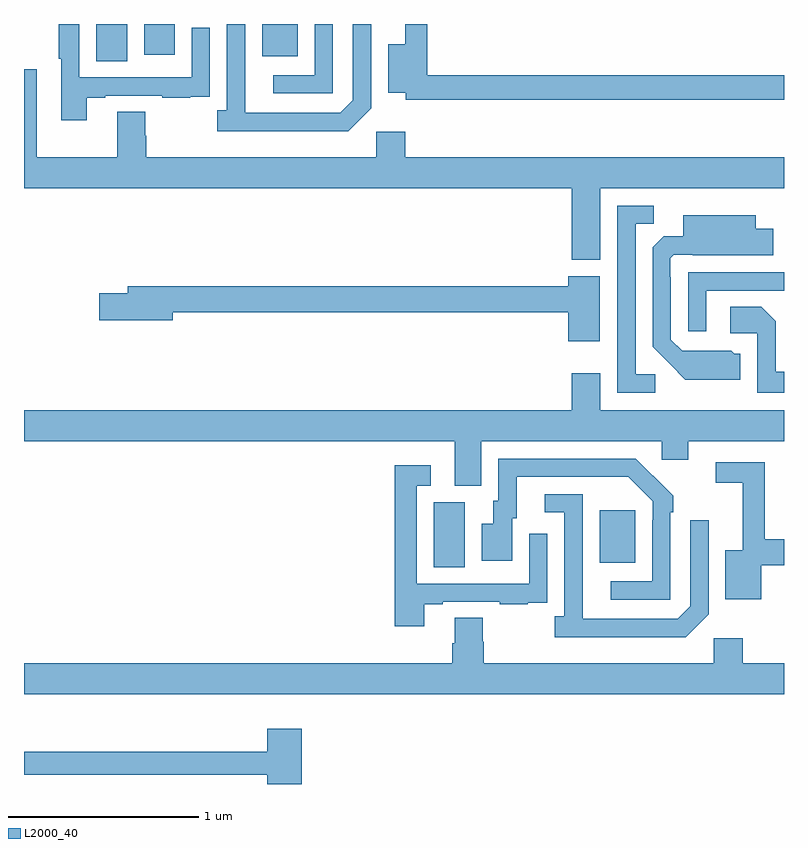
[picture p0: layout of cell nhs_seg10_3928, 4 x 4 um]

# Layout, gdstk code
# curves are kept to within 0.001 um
import gdstk
lib = gdstk.Library(unit=1e-6, precision=1e-09)
def R(c, l, rs):  # rectangles x0, y0, x1, y1
    for r in rs: c.add(gdstk.rectangle(r[:2], r[2:], *l))
def P(c, l, *ps):  # polygons
    for p in ps: c.add(gdstk.Polygon(p, *l))
L2000_40 = (2000, 40)

nhs_seg10_3928 = lib.new_cell('nhs_seg10_3928')
R(nhs_seg10_3928, L2000_40, [(329.156,1311.64,329.32,1311.984), (330.029,1311.665,330.217,1311.94), (327.38,1314.304,327.544,1314.5), (328.253,1314.329,328.441,1314.5), (327.632,1314.339,327.793,1314.5)])
P(nhs_seg10_3928, L2000_40, [(327.331,1314.111),(327.427,1314.111),(327.427,1314.123),(327.727,1314.123),(327.727,1314.111),(327.875,1314.111),(327.875,1314.117),(327.977,1314.117),(327.977,1314.226),(327.978,1314.226),(327.978,1314.481),(327.882,1314.481),(327.882,1314.219),(327.291,1314.219),(327.291,1314.5),(327.183,1314.5),(327.183,1314.316),(327.195,1314.316),(327.195,1313.994),(327.331,1313.994)],
  [(328.626,1314.5),(328.53,1314.5),(328.53,1314.231),(328.311,1314.231),(328.311,1314.135),(328.626,1314.135)],
  [(328.827,1314.057),(328.827,1314.5),(328.731,1314.5),(328.731,1314.099),(328.665,1314.033),(328.165,1314.033),(328.164,1314.5),(328.068,1314.5),(328.068,1314.046),(328.017,1314.046),(328.017,1313.936),(328.706,1313.936)],
  [(331,1314.23),(329.123,1314.23),(329.123,1314.5),(329.006,1314.5),(329.006,1314.394),(328.916,1314.394),(328.916,1314.137),(329.01,1314.137),(329.01,1314.102),(331,1314.102)],
  [(330.034,1313.636),(331,1313.636),(331,1313.8),(329.006,1313.8),(329.006,1313.932),(328.854,1313.932),(328.854,1313.8),(327.644,1313.8),(327.644,1313.913),(327.639,1313.913),(327.639,1314.038),(327.491,1314.038),(327.491,1313.8),(327.067,1313.8),(327.067,1314.262),(327,1314.262),(327,1313.636),(329.882,1313.636),(329.882,1313.258),(330.034,1313.258)],
  [(330.322,1312.656),(330.219,1312.656),(330.219,1313.449),(330.315,1313.449),(330.315,1313.544),(330.123,1313.544),(330.123,1312.56),(330.322,1312.56)],
  [(330.769,1312.764),(330.738,1312.764),(330.722,1312.78),(330.465,1312.779),(330.405,1312.839),(330.405,1313.168),(330.402,1313.168),(330.402,1313.268),(330.42,1313.286),(330.52,1313.286),(330.52,1313.282),(330.944,1313.282),(330.944,1313.422),(330.85,1313.422),(330.85,1313.494),(330.47,1313.494),(330.47,1313.383),(330.368,1313.383),(330.309,1313.324),(330.309,1312.802),(330.481,1312.628),(330.769,1312.628)],
  [(330.591,1313.097),(331,1313.097),(331,1313.193),(330.495,1313.193),(330.495,1312.884),(330.591,1312.884)],
  [(330.031,1313.173),(329.864,1313.173),(329.864,1313.12),(327.545,1313.12),(327.545,1313.084),(327.396,1313.084),(327.396,1312.942),(327.784,1312.942),(327.784,1312.984),(329.864,1312.984),(329.864,1312.83),(330.031,1312.83)],
  [(331,1312.669),(330.957,1312.669),(330.957,1312.936),(330.881,1313.012),(330.717,1313.012),(330.717,1312.872),(330.858,1312.872),(330.858,1312.56),(331,1312.56)],
  [(329.407,1312.304),(330.357,1312.304),(330.357,1312.206),(330.496,1312.206),(330.496,1312.304),(331,1312.304),(331,1312.468),(330.034,1312.468),(330.034,1312.663),(329.882,1312.663),(329.882,1312.468),(327,1312.468),(327,1312.304),(329.267,1312.304),(329.267,1312.069),(329.407,1312.069)],
  [(330.402,1311.929),(330.417,1311.929),(330.417,1312.017),(330.22,1312.212),(329.496,1312.212),(329.496,1311.99),(329.471,1311.99),(329.471,1311.871),(329.408,1311.871),(329.408,1311.675),(329.569,1311.675),(329.569,1311.9),(329.593,1311.9),(329.593,1312.116),(330.181,1312.116),(330.309,1311.987),(330.309,1311.887),(330.306,1311.887),(330.306,1311.567),(330.087,1311.567),(330.087,1311.471),(330.402,1311.471)],
  [(330.879,1311.652),(331,1311.652),(331,1311.788),(330.899,1311.788),(330.899,1312.194),(330.642,1312.194),(330.642,1312.086),(330.782,1312.086),(330.782,1311.73),(330.692,1311.73),(330.692,1311.473),(330.879,1311.473)],
  [(329.107,1311.447),(329.203,1311.447),(329.203,1311.459),(329.503,1311.459),(329.503,1311.447),(329.651,1311.447),(329.651,1311.453),(329.753,1311.453),(329.753,1311.562),(329.754,1311.562),(329.754,1311.817),(329.658,1311.817),(329.658,1311.555),(329.067,1311.555),(329.067,1312.071),(329.14,1312.071),(329.14,1312.177),(328.951,1312.177),(328.951,1311.33),(329.107,1311.33)],
  [(330.603,1311.393),(330.603,1311.889),(330.507,1311.889),(330.507,1311.435),(330.441,1311.369),(329.941,1311.369),(329.94,1312.026),(329.742,1312.026),(329.742,1311.93),(329.844,1311.93),(329.844,1311.382),(329.793,1311.382),(329.793,1311.272),(330.482,1311.272)],
  [(331,1311.136),(330.782,1311.136),(330.782,1311.268),(330.63,1311.268),(330.63,1311.136),(329.42,1311.136),(329.42,1311.249),(329.415,1311.249),(329.415,1311.374),(329.267,1311.374),(329.267,1311.242),(329.255,1311.242),(329.255,1311.136),(327,1311.136),(327,1310.972),(331,1310.972)],
  [(328.463,1310.791),(328.28,1310.791),(328.28,1310.671),(327,1310.671),(327,1310.55),(328.28,1310.55),(328.28,1310.5),(328.463,1310.5)])

lib.write_gds('nhs_seg10_3928.gds')
